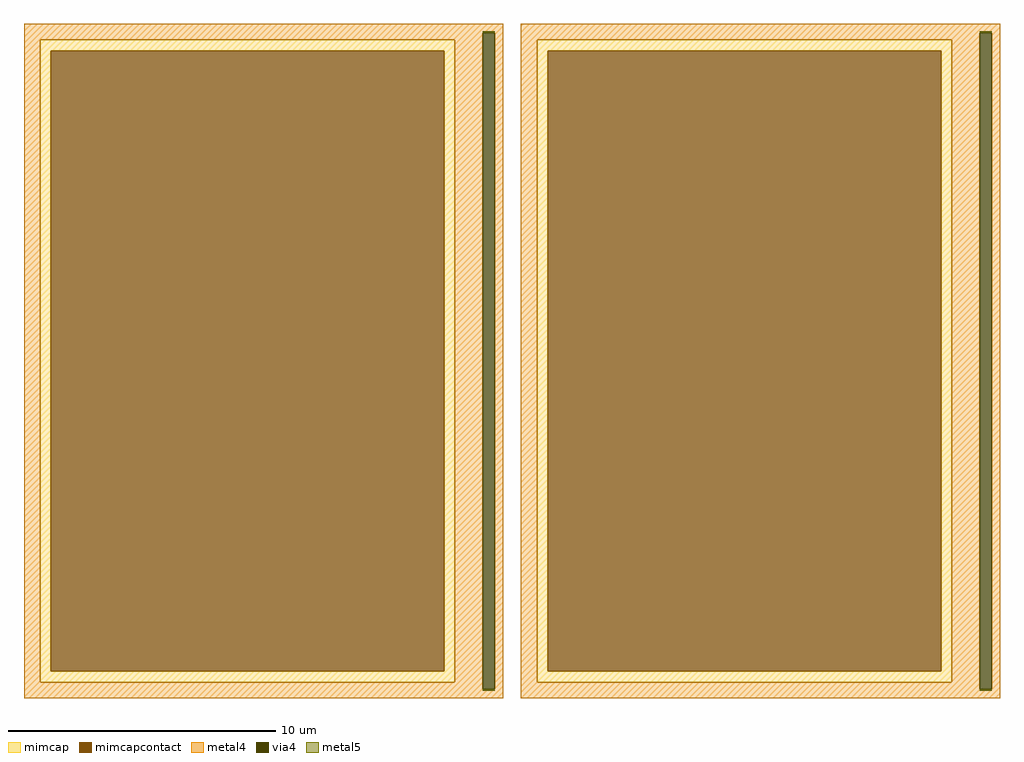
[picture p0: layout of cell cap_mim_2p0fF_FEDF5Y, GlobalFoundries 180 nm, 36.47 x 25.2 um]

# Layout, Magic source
magic
tech gf180mcuC
magscale 1 10
<< mimcap >>
rect -3527 2320 -427 2400
rect -3527 -2320 -3447 2320
rect -507 -2320 -427 2320
rect -3527 -2400 -427 -2320
rect 187 2320 3287 2400
rect 187 -2320 267 2320
rect 3207 -2320 3287 2320
rect 187 -2400 3287 -2320
<< mimcapcontact >>
rect -3447 -2320 -507 2320
rect 267 -2320 3207 2320
<< metal4 >>
rect -3647 2453 -67 2520
rect -3647 2400 -217 2453
rect -3647 -2400 -3527 2400
rect -427 -2400 -217 2400
rect -3647 -2453 -217 -2400
rect -129 -2453 -67 2453
rect -3647 -2520 -67 -2453
rect 67 2453 3647 2520
rect 67 2400 3497 2453
rect 67 -2400 187 2400
rect 3287 -2400 3497 2400
rect 67 -2453 3497 -2400
rect 3585 -2453 3647 2453
rect 67 -2520 3647 -2453
<< via4 >>
rect -217 -2453 -129 2453
rect 3497 -2453 3585 2453
<< metal5 >>
rect -217 2453 -129 2463
rect 3497 2453 3585 2463
rect -217 -2463 -129 -2453
rect 3497 -2463 3585 -2453
<< properties >>
string FIXED_BBOX 67 -2520 3407 2520
string gencell cap_mim_2p0fF
string library gf180mcu
string parameters w 15.5 l 24 val 10.88k carea 25.00 cperi 20.00 nx 2 ny 1 dummy 0 square 0 lmin 5.00 wmin 5.00 lmax 100.0 wmax 100.0 dc 0 bconnect 1 tconnect 1
<< end >>
